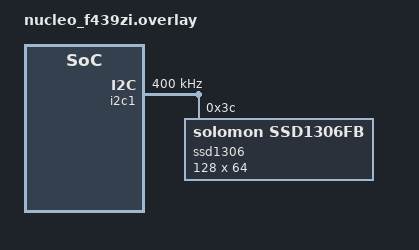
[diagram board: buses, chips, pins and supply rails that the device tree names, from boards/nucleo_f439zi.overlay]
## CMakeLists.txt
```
cmake_minimum_required(VERSION 3.20.0)

# Board role, picked at build time: west build ... -- -DROLE=requester (or responder)
set(ROLE "" CACHE STRING "Board role: requester or responder")
if(NOT ROLE MATCHES "^(requester|responder)$")
  message(FATAL_ERROR "Set the board role: west build ... -- -DROLE=requester (or -DROLE=responder)")
endif()

list(APPEND EXTRA_CONF_FILE ${CMAKE_CURRENT_LIST_DIR}/${ROLE}.conf)
if(EXISTS ${CMAKE_CURRENT_LIST_DIR}/boards/${BOARD}_${ROLE}.overlay)
  list(APPEND EXTRA_DTC_OVERLAY_FILE ${CMAKE_CURRENT_LIST_DIR}/boards/${BOARD}_${ROLE}.overlay)
endif()

find_package(Zephyr REQUIRED HINTS $ENV{ZEPHYR_BASE})
project(remote_spi)

# Open1722 is used header-only (all functions are static inline)
set(OPEN1722_DIR ${CMAKE_CURRENT_LIST_DIR}/../lib/open1722)
if(NOT EXISTS ${OPEN1722_DIR}/include/avtp/acf/Gbb.h)
  message(FATAL_ERROR "Open1722 not found in lib/open1722. Run: git submodule update --init")
endif()

file(GLOB common_sources src/common/*.c)
file(GLOB role_sources src/${ROLE}/*.c)

target_sources(app PRIVATE ${common_sources} ${role_sources})
target_include_directories(app PRIVATE src/common ${OPEN1722_DIR}/include)
```

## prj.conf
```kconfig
CONFIG_GPIO=y
CONFIG_STM32_ENABLE_DEBUG_SLEEP_STOP=y
CONFIG_LOG=y
CONFIG_MAIN_STACK_SIZE=2048

# Networking: IPv4 + UDP only, static addresses come from the role .conf
CONFIG_NETWORKING=y
CONFIG_NET_IPV4=y
CONFIG_NET_IPV6=n
CONFIG_NET_UDP=y
CONFIG_NET_TCP=n
CONFIG_NET_SOCKETS=y
CONFIG_NET_CONTEXT_RCVTIMEO=y
CONFIG_NET_CONFIG_SETTINGS=y
CONFIG_NET_CONFIG_NEED_IPV4=y
CONFIG_NET_CONFIG_MY_IPV4_NETMASK="255.255.255.0"
# Boot waits this many seconds for the link; the default 30 s is long with the cable unplugged
CONFIG_NET_CONFIG_INIT_TIMEOUT=5
```

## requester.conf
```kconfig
# Requester role (merged on top of prj.conf)
CONFIG_NET_CONFIG_MY_IPV4_ADDR="192.168.1.10"
# The Responder
CONFIG_NET_CONFIG_PEER_IPV4_ADDR="192.168.1.11"
```

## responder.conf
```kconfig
# Responder role (merged on top of prj.conf)
CONFIG_SPI=y
CONFIG_NET_CONFIG_MY_IPV4_ADDR="192.168.1.11"
```

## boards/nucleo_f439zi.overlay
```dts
&i2c1 {
    status = "okay";
    clock-frequency = <I2C_BITRATE_FAST>;

    ssd1306: ssd1306@3c {
        compatible = "solomon,ssd1306fb";
        reg = <0x3c>;
        width = <128>;
        height = <64>;
        segment-offset = <0>;
        page-offset = <0>;
        display-offset = <0>;
        multiplex-ratio = <63>;
        segment-remap;
        com-invdir;
        prechargep = <0x22>;
    };
};

/ {
    chosen {
        zephyr,display = &ssd1306;
    };
};
```

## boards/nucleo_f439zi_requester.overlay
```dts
/ {
	aliases {
		link-ok-led = &green_led_1;	/* LD1: toggles on each successful GBB Response */
		link-err-led = &red_led_1;	/* LD3: on after a Failed Transaction */
		page-button = &user_button;	/* B1: next Display Page */
	};
};
```

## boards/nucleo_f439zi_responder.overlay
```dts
/*
 * Peripherals are reached through raw SPI only, so no bme280/ssd1306 nodes here
 * (see docs/adr/0001-responder-is-a-dumb-byte-bus.md).
 */

&spi1 {
	/* PA7 is the Ethernet RMII CRS_DV pin on this board, so MOSI moves to PB5 */
	pinctrl-0 = <&spi1_sck_pa5 &spi1_miso_pa6 &spi1_mosi_pb5>;
	cs-gpios = <&gpiod 14 (GPIO_ACTIVE_LOW | GPIO_PULL_UP)>,	/* D10: BME280 */
		   <&gpiod 15 (GPIO_ACTIVE_LOW | GPIO_PULL_UP)>;	/* D9: OLED */
};

/ {
	zephyr,user {
		oled-dc-gpios = <&gpiof 12 GPIO_ACTIVE_HIGH>;	/* D8: high = data, low = command */
		oled-res-gpios = <&gpiof 13 GPIO_ACTIVE_LOW>;	/* D7 */
	};

	aliases {
		spi-err-led = &red_led_1;	/* LD3: on after a local SPI failure */
	};
};
```

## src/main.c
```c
#include <zephyr/kernel.h>
#include <zephyr/drivers/gpio.h>

static const struct gpio_dt_spec led = GPIO_DT_SPEC_GET(DT_ALIAS(led2), gpios);

int main(void)
{
	if (!gpio_is_ready_dt(&led) || gpio_pin_configure_dt(&led, GPIO_OUTPUT_ACTIVE) < 0) {
		printk("LED init failed\n");
		return 0;
	}

	for (int i = 0;; i++) {
		gpio_pin_toggle_dt(&led);
		printk("tick %d\n", i);
		k_msleep(500);
	}
}
```
